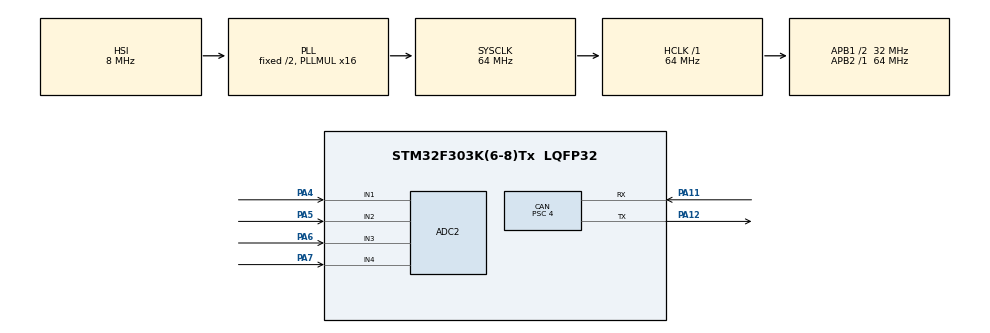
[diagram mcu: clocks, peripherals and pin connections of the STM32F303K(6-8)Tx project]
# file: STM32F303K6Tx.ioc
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ADC2.Channel-0\#ChannelRegularConversion=ADC_CHANNEL_1
ADC2.Channel-1\#ChannelRegularConversion=ADC_CHANNEL_2
ADC2.Channel-2\#ChannelRegularConversion=ADC_CHANNEL_3
ADC2.Channel-3\#ChannelRegularConversion=ADC_CHANNEL_4
ADC2.ContinuousConvMode=ENABLE
ADC2.DMAContinuousRequests=ENABLE
ADC2.NbrOfConversion=4
ADC2.NbrOfConversionFlag=1
ADC2.Offset-0\#ChannelRegularConversion=0
ADC2.Offset-1\#ChannelRegularConversion=0
ADC2.Offset-2\#ChannelRegularConversion=0
ADC2.Offset-3\#ChannelRegularConversion=0
ADC2.OffsetNumber-0\#ChannelRegularConversion=ADC_OFFSET_NONE
ADC2.OffsetNumber-1\#ChannelRegularConversion=ADC_OFFSET_NONE
ADC2.OffsetNumber-2\#ChannelRegularConversion=ADC_OFFSET_NONE
ADC2.OffsetNumber-3\#ChannelRegularConversion=ADC_OFFSET_NONE
ADC2.Rank-0\#ChannelRegularConversion=1
ADC2.Rank-1\#ChannelRegularConversion=2
ADC2.Rank-2\#ChannelRegularConversion=3
ADC2.Rank-3\#ChannelRegularConversion=4
ADC2.SamplingTime-0\#ChannelRegularConversion=ADC_SAMPLETIME_61CYCLES_5
ADC2.SamplingTime-1\#ChannelRegularConversion=ADC_SAMPLETIME_61CYCLES_5
ADC2.SamplingTime-2\#ChannelRegularConversion=ADC_SAMPLETIME_61CYCLES_5
ADC2.SamplingTime-3\#ChannelRegularConversion=ADC_SAMPLETIME_61CYCLES_5
ADC2.SamplingTimeOPAMP-1\#ChannelRegularConversion=ADC_SAMPLETIME_7CYCLES_5
ADC2.SamplingTimeOPAMP-2\#ChannelRegularConversion=ADC_SAMPLETIME_7CYCLES_5
ADC2.SamplingTimeOPAMP-3\#ChannelRegularConversion=ADC_SAMPLETIME_7CYCLES_5
CAN.BS1=CAN_BS1_13TQ
CAN.BS2=CAN_BS2_2TQ
CAN.CalculateBaudRate=500000
CAN.CalculateTimeBit=2000
CAN.CalculateTimeQuantum=125.0
CAN.Prescaler=4
CAN.RFLM=ENABLE
Dma.ADC2.0.Direction=DMA_PERIPH_TO_MEMORY
Dma.ADC2.0.Instance=DMA1_Channel2
Dma.ADC2.0.MemDataAlignment=DMA_MDATAALIGN_HALFWORD
Dma.ADC2.0.MemInc=DMA_MINC_ENABLE
Dma.ADC2.0.Mode=DMA_CIRCULAR
Dma.ADC2.0.PeriphDataAlignment=DMA_PDATAALIGN_HALFWORD
Dma.ADC2.0.PeriphInc=DMA_PINC_DISABLE
Dma.ADC2.0.Priority=DMA_PRIORITY_LOW
Dma.Request0=ADC2
Mcu.Family=STM32F3
Mcu.Name=STM32F303K(6-8)Tx
Mcu.Package=LQFP32
NVIC.CAN_RX0_IRQn=true\:0\:0\:true\:false\:true\:true\:true
NVIC.DMA1_Channel2_IRQn=true\:0\:0\:true\:false\:true\:false\:true
NVIC.PriorityGroup=NVIC_PRIORITYGROUP_4
NVIC.TIM2_IRQn=true\:0\:0\:true\:false\:true\:true\:true
NVIC.TIM7_DAC2_IRQn=true\:1\:0\:true\:false\:true\:true\:true
PA11.Mode=CAN_Activate
PA11.Signal=CAN_RX
PA12.Mode=CAN_Activate
PA12.Signal=CAN_TX
PA13.Mode=Serial_Wire
PA13.Signal=SYS_JTMS-SWDIO
PA14.Mode=Serial_Wire
PA14.Signal=SYS_JTCK-SWCLK
PA4.Mode=IN1-Single-Ended
PA4.Signal=ADC2_IN1
PA5.Mode=IN2-Single-Ended
PA5.Signal=ADC2_IN2
PA6.Mode=IN3-Single-Ended
PA6.Signal=ADC2_IN3
PA7.Mode=IN4-Single-Ended
PA7.Signal=ADC2_IN4
PF0\ /\ OSC_IN.Mode=HSE-External-Oscillator
PF0\ /\ OSC_IN.Signal=RCC_OSC_IN
PF1\ /\ OSC_OUT.Mode=HSE-External-Oscillator
PF1\ /\ OSC_OUT.Signal=RCC_OSC_OUT
ProjectManager.HeapSize=0x200
ProjectManager.StackSize=0x400
ProjectManager.TargetToolchain=STM32CubeIDE
RCC.AHBFreq_Value=64000000
RCC.APB1CLKDivider=RCC_HCLK_DIV2
RCC.APB1Freq_Value=32000000
RCC.APB1TimFreq_Value=64000000
RCC.APB2Freq_Value=64000000
RCC.APB2TimFreq_Value=64000000
RCC.CortexFreq_Value=64000000
RCC.HCLKFreq_Value=64000000
RCC.HSE_VALUE=16000000
RCC.HSI_VALUE=8000000
RCC.PLLMUL=RCC_PLL_MUL16
RCC.SYSCLKFreq_VALUE=64000000
RCC.SYSCLKSourceVirtual=RCC_SYSCLKSOURCE_PLLCLK
TIM2.Period=399
TIM2.Prescaler=31999
TIM7.AutoReloadPreload=TIM_AUTORELOAD_PRELOAD_ENABLE
TIM7.Period=3199
TIM7.Prescaler=9999
VP_TIM2_VS_ClockSourceINT.Mode=Internal
VP_TIM7_VS_ClockSourceINT.Mode=Enable_Timer
board=custom

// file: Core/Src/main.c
/* USER CODE BEGIN Header */
/**
  ******************************************************************************
  * @file           : main.c
  * @brief          : Main program body
  ******************************************************************************
  * @attention
  *
  * <h2><center>&copy; Copyright (c) 2021 STMicroelectronics.
  * All rights reserved.</center></h2>
  *
  * This software component is licensed by ST under BSD 3-Clause license,
  * the "License"; You may not use this file except in compliance with the
  * License. You may obtain a copy of the License at:
  *                        opensource.org/licenses/BSD-3-Clause
  *
  ******************************************************************************
  */
/* USER CODE END Header */
#include "main.h"

/* USER CODE BEGIN Includes */
#include "string.h"
#include "can.h"
#include "temp_lut.h"
/* USER CODE END Includes */

/* USER CODE BEGIN PD */
#define ADC2V	0.0008058608F // 3.3/4065
#define NUMBER_OF_TEMP_PROBES	2
/* USER CODE END PD */

ADC_HandleTypeDef hadc2;
DMA_HandleTypeDef hdma_adc2;

CAN_HandleTypeDef hcan;

TIM_HandleTypeDef htim2;
TIM_HandleTypeDef htim7;

/* USER CODE BEGIN PV */
uint16_t ADC2ConvertedValues[256];
float temperature[NUMBER_OF_TEMP_PROBES + 2]; //adding 2 to make 4 in case anything over CAN is expecting 4 temperatures. Fix later
uint32_t sum = 0;
uint16_t mean = 0;
uint16_t lut_indx = 0;
uint32_t temp_1;
uint32_t temp_2;

/* USER CODE END PV */

void SystemClock_Config(void);
static void MX_GPIO_Init(void);
static void MX_DMA_Init(void);
static void MX_CAN_Init(void);
static void MX_ADC2_Init(void);
static void MX_TIM2_Init(void);
static void MX_TIM7_Init(void);
/* USER CODE BEGIN PFP */
void float2Bytes(float val, uint8_t *bytes_array);
/* USER CODE END PFP */

int main(void)
{

  /* MCU Configuration--------------------------------------------------------*/

  /* Reset of all peripherals, Initializes the Flash interface and the Systick. */
  HAL_Init();

  /* Configure the system clock */
  SystemClock_Config();

  /* Initialize all configured peripherals */
  MX_GPIO_Init();
  MX_DMA_Init();
  MX_CAN_Init();
  MX_ADC2_Init();
  MX_TIM2_Init();
  MX_TIM7_Init();
  /* USER CODE BEGIN 2 */

  // Set timer to work in debug mode
  DBGMCU->APB1FZ &= ~(DBGMCU_APB1_FZ_DBG_TIM7_STOP);

  // Start timers
  HAL_TIM_Base_Start_IT(&htim7);

  hcan.Instance->MCR = 0x60; // important for debugging canbus, allows for normal operation during debugging
  HAL_ADC_Start_DMA(&hadc2, (uint32_t*)ADC2ConvertedValues,256);

  if (CANBus_init(&hcan, &htim7) != HAL_OK) { Error_Handler(); }

  if (CANBus_subscribe(STATE_CHANGE_REQ) != HAL_OK) { Error_Handler(); }

  //HAL_TIM_Base_Start_IT(&htim2);
  //__HAL_TIM_SET_COUNTER(&htim2, 0);
  /* USER CODE END 2 */

  /* Infinite loop */
  /* USER CODE BEGIN WHILE */
  while (1)
  {
    CANFrame frame = CANFrame_init(TORCHIC_1);
    temp_1 = FLOAT_TO_UINT(temperature[0]);
    temp_2 = FLOAT_TO_UINT(temperature[2]);;

    CANFrame_set_field(&frame, TORCHIC_1_TEMP_1, temp_1);
    CANFrame_set_field(&frame, TORCHIC_1_TEMP_2, temp_2);

    CANBus_put_frame(&frame);

		HAL_Delay(200);
    /* USER CODE END WHILE */

  }
}

void SystemClock_Config(void)
{
  RCC_OscInitTypeDef RCC_OscInitStruct = {0};
  RCC_ClkInitTypeDef RCC_ClkInitStruct = {0};
  RCC_PeriphCLKInitTypeDef PeriphClkInit = {0};

  /** Initializes the RCC Oscillators according to the specified parameters
  * in the RCC_OscInitTypeDef structure.
  */
  RCC_OscInitStruct.OscillatorType = RCC_OSCILLATORTYPE_HSI;
  RCC_OscInitStruct.HSIState = RCC_HSI_ON;
  RCC_OscInitStruct.HSICalibrationValue = RCC_HSICALIBRATION_DEFAULT;
  RCC_OscInitStruct.PLL.PLLState = RCC_PLL_ON;
  RCC_OscInitStruct.PLL.PLLSource = RCC_PLLSOURCE_HSI;
  RCC_OscInitStruct.PLL.PLLMUL = RCC_PLL_MUL16;
  if (HAL_RCC_OscConfig(&RCC_OscInitStruct) != HAL_OK)
  {
    Error_Handler();
  }
  /** Initializes the CPU, AHB and APB buses clocks
  */
  RCC_ClkInitStruct.ClockType = RCC_CLOCKTYPE_HCLK|RCC_CLOCKTYPE_SYSCLK
                              |RCC_CLOCKTYPE_PCLK1|RCC_CLOCKTYPE_PCLK2;
  RCC_ClkInitStruct.SYSCLKSource = RCC_SYSCLKSOURCE_PLLCLK;
  RCC_ClkInitStruct.AHBCLKDivider = RCC_SYSCLK_DIV1;
  RCC_ClkInitStruct.APB1CLKDivider = RCC_HCLK_DIV2;
  RCC_ClkInitStruct.APB2CLKDivider = RCC_HCLK_DIV1;

  if (HAL_RCC_ClockConfig(&RCC_ClkInitStruct, FLASH_LATENCY_2) != HAL_OK)
  {
    Error_Handler();
  }
  PeriphClkInit.PeriphClockSelection = RCC_PERIPHCLK_ADC12;
  PeriphClkInit.Adc12ClockSelection = RCC_ADC12PLLCLK_DIV1;
  if (HAL_RCCEx_PeriphCLKConfig(&PeriphClkInit) != HAL_OK)
  {
    Error_Handler();
  }
}

static void MX_ADC2_Init(void)
{

  ADC_ChannelConfTypeDef sConfig = {0};

  /** Common config
  */
  hadc2.Instance = ADC2;
  hadc2.Init.ClockPrescaler = ADC_CLOCK_ASYNC_DIV1;
  hadc2.Init.Resolution = ADC_RESOLUTION_12B;
  hadc2.Init.ScanConvMode = ADC_SCAN_ENABLE;
  hadc2.Init.ContinuousConvMode = ENABLE;
  hadc2.Init.DiscontinuousConvMode = DISABLE;
  hadc2.Init.ExternalTrigConvEdge = ADC_EXTERNALTRIGCONVEDGE_NONE;
  hadc2.Init.ExternalTrigConv = ADC_SOFTWARE_START;
  hadc2.Init.DataAlign = ADC_DATAALIGN_RIGHT;
  hadc2.Init.NbrOfConversion = 4;
  hadc2.Init.DMAContinuousRequests = ENABLE;
  hadc2.Init.EOCSelection = ADC_EOC_SINGLE_CONV;
  hadc2.Init.LowPowerAutoWait = DISABLE;
  hadc2.Init.Overrun = ADC_OVR_DATA_OVERWRITTEN;
  if (HAL_ADC_Init(&hadc2) != HAL_OK)
  {
    Error_Handler();
  }
  /** Configure Regular Channel
  */
  sConfig.Channel = ADC_CHANNEL_1;
  sConfig.Rank = ADC_REGULAR_RANK_1;
  sConfig.SingleDiff = ADC_SINGLE_ENDED;
  sConfig.SamplingTime = ADC_SAMPLETIME_61CYCLES_5;
  sConfig.OffsetNumber = ADC_OFFSET_NONE;
  sConfig.Offset = 0;
  if (HAL_ADC_ConfigChannel(&hadc2, &sConfig) != HAL_OK)
  {
    Error_Handler();
  }
  /** Configure Regular Channel
  */
  sConfig.Channel = ADC_CHANNEL_2;
  sConfig.Rank = ADC_REGULAR_RANK_2;
  if (HAL_ADC_ConfigChannel(&hadc2, &sConfig) != HAL_OK)
  {
    Error_Handler();
  }
  /** Configure Regular Channel
  */
  sConfig.Channel = ADC_CHANNEL_3;
  sConfig.Rank = ADC_REGULAR_RANK_3;
  if (HAL_ADC_ConfigChannel(&hadc2, &sConfig) != HAL_OK)
  {
    Error_Handler();
  }
  /** Configure Regular Channel
  */
  sConfig.Channel = ADC_CHANNEL_4;
  sConfig.Rank = ADC_REGULAR_RANK_4;
  if (HAL_ADC_ConfigChannel(&hadc2, &sConfig) != HAL_OK)
  {
    Error_Handler();
  }

}

static void MX_CAN_Init(void)
{

  hcan.Instance = CAN;
  hcan.Init.Prescaler = 4;
  hcan.Init.Mode = CAN_MODE_NORMAL;
  hcan.Init.SyncJumpWidth = CAN_SJW_1TQ;
  hcan.Init.TimeSeg1 = CAN_BS1_13TQ;
  hcan.Init.TimeSeg2 = CAN_BS2_2TQ;
  hcan.Init.TimeTriggeredMode = DISABLE;
  hcan.Init.AutoBusOff = DISABLE;
  hcan.Init.AutoWakeUp = DISABLE;
  hcan.Init.AutoRetransmission = DISABLE;
  hcan.Init.ReceiveFifoLocked = ENABLE;
  hcan.Init.TransmitFifoPriority = DISABLE;
  if (HAL_CAN_Init(&hcan) != HAL_OK)
  {
    Error_Handler();
  }

}

static void MX_TIM2_Init(void)
{

  TIM_ClockConfigTypeDef sClockSourceConfig = {0};
  TIM_MasterConfigTypeDef sMasterConfig = {0};

  htim2.Instance = TIM2;
  htim2.Init.Prescaler = 31999;
  htim2.Init.CounterMode = TIM_COUNTERMODE_UP;
  htim2.Init.Period = 399;
  htim2.Init.ClockDivision = TIM_CLOCKDIVISION_DIV1;
  htim2.Init.AutoReloadPreload = TIM_AUTORELOAD_PRELOAD_DISABLE;
  if (HAL_TIM_Base_Init(&htim2) != HAL_OK)
  {
    Error_Handler();
  }
  sClockSourceConfig.ClockSource = TIM_CLOCKSOURCE_INTERNAL;
  if (HAL_TIM_ConfigClockSource(&htim2, &sClockSourceConfig) != HAL_OK)
  {
    Error_Handler();
  }
  sMasterConfig.MasterOutputTrigger = TIM_TRGO_RESET;
  sMasterConfig.MasterSlaveMode = TIM_MASTERSLAVEMODE_DISABLE;
  if (HAL_TIMEx_MasterConfigSynchronization(&htim2, &sMasterConfig) != HAL_OK)
  {
    Error_Handler();
  }

}

static void MX_TIM7_Init(void)
{

  TIM_MasterConfigTypeDef sMasterConfig = {0};

  htim7.Instance = TIM7;
  htim7.Init.Prescaler = 9999;
  htim7.Init.CounterMode = TIM_COUNTERMODE_UP;
  htim7.Init.Period = 3199;
  htim7.Init.AutoReloadPreload = TIM_AUTORELOAD_PRELOAD_ENABLE;
  if (HAL_TIM_Base_Init(&htim7) != HAL_OK)
  {
    Error_Handler();
  }
  sMasterConfig.MasterOutputTrigger = TIM_TRGO_RESET;
  sMasterConfig.MasterSlaveMode = TIM_MASTERSLAVEMODE_DISABLE;
  if (HAL_TIMEx_MasterConfigSynchronization(&htim7, &sMasterConfig) != HAL_OK)
  {
    Error_Handler();
  }

}

static void MX_DMA_Init(void)
{

  /* DMA controller clock enable */
  __HAL_RCC_DMA1_CLK_ENABLE();

  /* DMA interrupt init */
  /* DMA1_Channel2_IRQn interrupt configuration */
  HAL_NVIC_SetPriority(DMA1_Channel2_IRQn, 0, 0);
  HAL_NVIC_EnableIRQ(DMA1_Channel2_IRQn);

}

static void MX_GPIO_Init(void)
{

  /* GPIO Ports Clock Enable */
  __HAL_RCC_GPIOF_CLK_ENABLE();
  __HAL_RCC_GPIOA_CLK_ENABLE();

}

/* USER CODE BEGIN 4 */

void HAL_ADC_ConvCpltCallback(ADC_HandleTypeDef* hadc) {
	for (uint8_t i=0; i < 4; i++) {
		sum = 0;
		mean = 0;

		for(uint8_t j=0; j < 64; j++) {
			sum += ADC2ConvertedValues[i + 4*j];
		}

		mean = sum/64.0;

        // clamp the value that we're indexing the LUT at so we don't get any undefined behaviour
        lut_indx = (mean - LUT_OFFSET)*(mean < LUT_SIZE) + (LUT_SIZE - 1)*(mean >= LUT_SIZE);
        temperature[i] = ADC_TO_TEMP_LUT[lut_indx];
	}
}

void HAL_TIM_PeriodElapsedCallback(TIM_HandleTypeDef *htim) {
  WLoopCAN_timer_isr(htim);
}

/* USER CODE END 4 */

void Error_Handler(void)
{
  __disable_irq();
  while (1)
  {
  }
}

/************************ (C) COPYRIGHT STMicroelectronics *****END OF FILE****/
